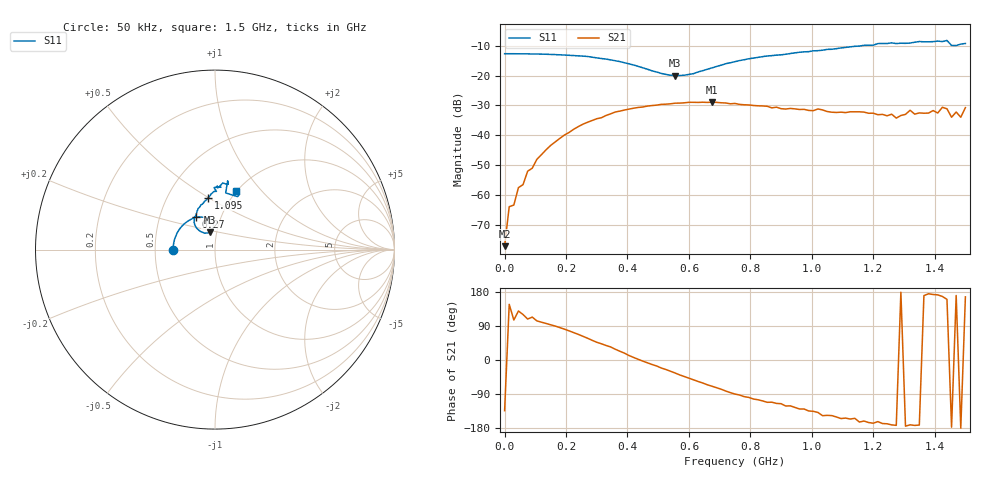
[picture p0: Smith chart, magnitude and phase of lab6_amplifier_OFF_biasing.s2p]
# HZ S RI R 50
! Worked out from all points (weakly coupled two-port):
!   101 points, 50 kHz to 1.5 GHz, reference 50 ohm
!   highest |S21| = -28.88 dB at 675 MHz (marker M1); lowest = -77.2 dB at 50 kHz (marker M2)
!   lowest |S11| = -20.0 dB at 555 MHz (marker M3), VSWR 1.22, Z = 46.2 + j8.95 ohm
!   |S11| at or under -10 dB: start of sweep to 1.159 GHz
!   S12 and S22 are empty: the file has one direction only
!   S11 on the Smith chart (normalised r, x): 50 kHz: 0.62, -0.00; 270 MHz: 0.76, +0.29; 1.095 GHz: 0.79, +0.50; 1.5 GHz: 0.99, +0.74
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50000  -0.2335 -0.000999  -9.53e-05 -9.96e-05  0 0  0 0
1.50495e7  -0.2332 0.0129  -0.00053 0.000346  0 0  0 0
3.0049e7  -0.232 0.0254  -0.00018 0.00065  0 0  0 0
4.50485e7  -0.2297 0.0383  -0.000837 0.00102  0 0  0 0
6.0048e7  -0.2266 0.0511  -0.000743 0.00129  0 0  0 0
7.50475e7  -0.2234 0.0635  -0.000775 0.00237  0 0  0 0
1.50045e8  -0.192 0.1216  -0.000338 0.00675  0 0  0 0
2.550415e8  -0.1198 0.1759  0.00708 0.0136  0 0  0 0
2.70041e8  -0.1064 0.1809  0.0089 0.0139  0 0  0 0
5.10033e8  -0.015 0.108  0.0308 -0.0119  0 0  0 0
5.550315e8  -0.0302 0.0958  0.0285 -0.0195  0 0  0 0
6.750275e8  -0.0857 0.1043  0.0128 -0.0336  0 0  0 0
7.50025e8  -0.1099 0.1322  6.37e-05 -0.0342  0 0  0 0
1.005016e9  -0.079 0.2487  -0.0184 -0.0182  0 0  0 0
1.095014e9  -0.0378 0.2895  -0.022 -0.0105  0 0  0 0
1.260008e9  0.0113 0.3546  -0.0223 -0.00344  0 0  0 0
1.410003e9  0.073 0.3729  -0.0234 0.00331  0 0  0 0
1.425002e9  0.0739 0.3661  -0.0288 0.00628  0 0  0 0
1.455002e9  0.0596 0.316  -0.02 -0.000945  0 0  0 0
1.470001e9  0.1256 0.295  -0.0242 0.00417  0 0  0 0
1.485e9  0.1374 0.3093  -0.0201 -7.11e-05  0 0  0 0
1.5e9  0.1179 0.3262  -0.0283 0.00671  0 0  0 0
